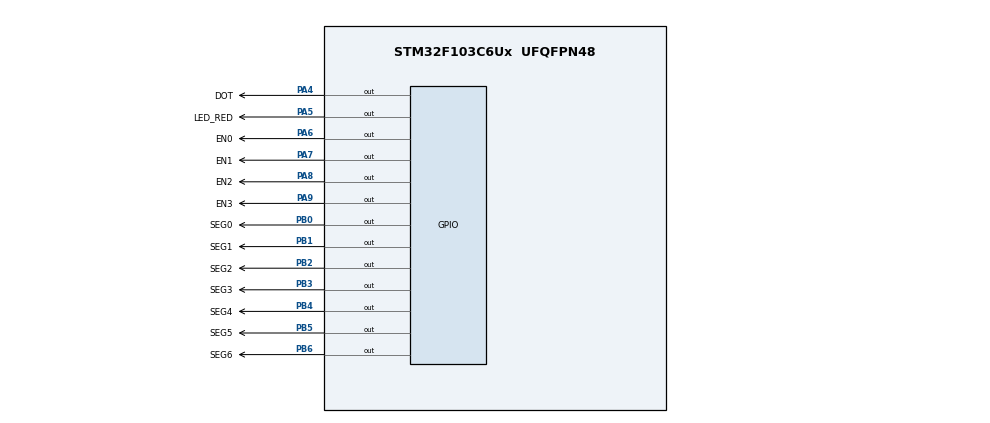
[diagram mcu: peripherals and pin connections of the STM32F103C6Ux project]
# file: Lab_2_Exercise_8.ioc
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Mcu.Family=STM32F1
Mcu.Name=STM32F103C6Ux
Mcu.Package=UFQFPN48
NVIC.PriorityGroup=NVIC_PRIORITYGROUP_4
NVIC.TIM2_IRQn=true\:0\:0\:false\:false\:true\:true\:true
PA4.GPIO_Label=DOT
PA4.Signal=GPIO_Output
PA5.GPIO_Label=LED_RED
PA5.Signal=GPIO_Output
PA6.GPIO_Label=EN0
PA6.Signal=GPIO_Output
PA7.GPIO_Label=EN1
PA7.Signal=GPIO_Output
PA8.GPIO_Label=EN2
PA8.Signal=GPIO_Output
PA9.GPIO_Label=EN3
PA9.Signal=GPIO_Output
PB0.GPIO_Label=SEG0
PB0.Signal=GPIO_Output
PB1.GPIO_Label=SEG1
PB1.Signal=GPIO_Output
PB2.GPIO_Label=SEG2
PB2.Signal=GPIO_Output
PB3.GPIO_Label=SEG3
PB3.Signal=GPIO_Output
PB4.GPIO_Label=SEG4
PB4.Signal=GPIO_Output
PB5.GPIO_Label=SEG5
PB5.Signal=GPIO_Output
PB6.GPIO_Label=SEG6
PB6.Signal=GPIO_Output
ProjectManager.HeapSize=0x200
ProjectManager.StackSize=0x400
ProjectManager.TargetToolchain=STM32CubeIDE
RCC.APB1Freq_Value=8000000
RCC.APB2Freq_Value=8000000
TIM2.Prescaler=7999
VP_SYS_VS_ND.Mode=No_Debug
VP_TIM2_VS_ClockSourceINT.Mode=Internal
board=custom

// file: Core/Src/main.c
/* USER CODE BEGIN Header */
/**
  ******************************************************************************
  * @file           : main.c
  * @brief          : Main program body
  ******************************************************************************
  * @attention
  *
  * <h2><center>&copy; Copyright (c) 2022 STMicroelectronics.
  * All rights reserved.</center></h2>
  *
  * This software component is licensed by ST under BSD 3-Clause license,
  * the "License"; You may not use this file except in compliance with the
  * License. You may obtain a copy of the License at:
  *                        opensource.org/licenses/BSD-3-Clause
  *
  ******************************************************************************
  */
/* USER CODE END Header */
#include "main.h"

TIM_HandleTypeDef htim2;

/* USER CODE BEGIN PV */
int hour = 15, minute = 8, second = 50;
const int MAX_LED = 4;
int index_led = 0;
int led_buffer[4] = {0, 0, 0, 0};
int timer0_counter = 0;
int timer0_flag = 0;
int timer1_counter = 0;
int timer1_flag = 0;
int TIMER_CYCLE = 10;
/* USER CODE END PV */

void SystemClock_Config(void);
static void MX_GPIO_Init(void);
static void MX_TIM2_Init(void);
/* USER CODE BEGIN PFP */
void update7SEG(int);
void updateClockBuffer(void);
void display7SEG(int);
void setTimer0(int);
void setTimer1(int);
void timer_run(void);
/* USER CODE END PFP */

int main(void)
{

  /* MCU Configuration--------------------------------------------------------*/

  /* Reset of all peripherals, Initializes the Flash interface and the Systick. */
  HAL_Init();

  /* Configure the system clock */
  SystemClock_Config();

  /* Initialize all configured peripherals */
  MX_GPIO_Init();
  MX_TIM2_Init();
  /* USER CODE BEGIN 2 */
  HAL_TIM_Base_Start_IT(&htim2);
  /* USER CODE END 2 */

  /* Infinite loop */
  /* USER CODE BEGIN WHILE */
  setTimer0(100);
  setTimer1(100);
  while (1)
  {
    /* USER CODE END WHILE */
	  if (timer0_flag) {
		  timer0_flag = 0;
		  setTimer0(1000);
		  HAL_GPIO_TogglePin(DOT_GPIO_Port, DOT_Pin);
		  HAL_GPIO_TogglePin(LED_RED_GPIO_Port, LED_RED_Pin);

		  second++;
		  if ( second >= 60) {
			  second = 0;
			  minute++;
		  }
		  if( minute >= 60) {
			  minute = 0;
			  hour++;
		  }
		  if( hour >= 24) {
			  hour = 0;
		  }
		  updateClockBuffer();
	  }

	  if (timer1_flag) {
		  timer1_flag = 0;
		  setTimer1(250);
		  update7SEG(index_led++);
		  if(index_led == MAX_LED) index_led = 0;
	  }
  }
}

void SystemClock_Config(void)
{
  RCC_OscInitTypeDef RCC_OscInitStruct = {0};
  RCC_ClkInitTypeDef RCC_ClkInitStruct = {0};

  /** Initializes the RCC Oscillators according to the specified parameters
  * in the RCC_OscInitTypeDef structure.
  */
  RCC_OscInitStruct.OscillatorType = RCC_OSCILLATORTYPE_HSI;
  RCC_OscInitStruct.HSIState = RCC_HSI_ON;
  RCC_OscInitStruct.HSICalibrationValue = RCC_HSICALIBRATION_DEFAULT;
  RCC_OscInitStruct.PLL.PLLState = RCC_PLL_NONE;
  if (HAL_RCC_OscConfig(&RCC_OscInitStruct) != HAL_OK)
  {
    Error_Handler();
  }
  /** Initializes the CPU, AHB and APB buses clocks
  */
  RCC_ClkInitStruct.ClockType = RCC_CLOCKTYPE_HCLK|RCC_CLOCKTYPE_SYSCLK
                              |RCC_CLOCKTYPE_PCLK1|RCC_CLOCKTYPE_PCLK2;
  RCC_ClkInitStruct.SYSCLKSource = RCC_SYSCLKSOURCE_HSI;
  RCC_ClkInitStruct.AHBCLKDivider = RCC_SYSCLK_DIV1;
  RCC_ClkInitStruct.APB1CLKDivider = RCC_HCLK_DIV1;
  RCC_ClkInitStruct.APB2CLKDivider = RCC_HCLK_DIV1;

  if (HAL_RCC_ClockConfig(&RCC_ClkInitStruct, FLASH_LATENCY_0) != HAL_OK)
  {
    Error_Handler();
  }
}

static void MX_TIM2_Init(void)
{

  TIM_ClockConfigTypeDef sClockSourceConfig = {0};
  TIM_MasterConfigTypeDef sMasterConfig = {0};

  htim2.Instance = TIM2;
  htim2.Init.Prescaler = 7999;
  htim2.Init.CounterMode = TIM_COUNTERMODE_UP;
  htim2.Init.Period = 1;
  htim2.Init.ClockDivision = TIM_CLOCKDIVISION_DIV1;
  htim2.Init.AutoReloadPreload = TIM_AUTORELOAD_PRELOAD_DISABLE;
  if (HAL_TIM_Base_Init(&htim2) != HAL_OK)
  {
    Error_Handler();
  }
  sClockSourceConfig.ClockSource = TIM_CLOCKSOURCE_INTERNAL;
  if (HAL_TIM_ConfigClockSource(&htim2, &sClockSourceConfig) != HAL_OK)
  {
    Error_Handler();
  }
  sMasterConfig.MasterOutputTrigger = TIM_TRGO_RESET;
  sMasterConfig.MasterSlaveMode = TIM_MASTERSLAVEMODE_DISABLE;
  if (HAL_TIMEx_MasterConfigSynchronization(&htim2, &sMasterConfig) != HAL_OK)
  {
    Error_Handler();
  }

}

static void MX_GPIO_Init(void)
{
  GPIO_InitTypeDef GPIO_InitStruct = {0};

  /* GPIO Ports Clock Enable */
  __HAL_RCC_GPIOA_CLK_ENABLE();
  __HAL_RCC_GPIOB_CLK_ENABLE();

  /*Configure GPIO pin Output Level */
  HAL_GPIO_WritePin(GPIOA, DOT_Pin|LED_RED_Pin|EN0_Pin|EN1_Pin
                          |EN2_Pin|EN3_Pin, GPIO_PIN_RESET);

  /*Configure GPIO pin Output Level */
  HAL_GPIO_WritePin(GPIOB, SEG0_Pin|SEG1_Pin|SEG2_Pin|SEG3_Pin
                          |SEG4_Pin|SEG5_Pin|SEG6_Pin, GPIO_PIN_RESET);

  /*Configure GPIO pins : DOT_Pin LED_RED_Pin EN0_Pin EN1_Pin
                           EN2_Pin EN3_Pin */
  GPIO_InitStruct.Pin = DOT_Pin|LED_RED_Pin|EN0_Pin|EN1_Pin
                          |EN2_Pin|EN3_Pin;
  GPIO_InitStruct.Mode = GPIO_MODE_OUTPUT_PP;
  GPIO_InitStruct.Pull = GPIO_NOPULL;
  GPIO_InitStruct.Speed = GPIO_SPEED_FREQ_LOW;
  HAL_GPIO_Init(GPIOA, &GPIO_InitStruct);

  /*Configure GPIO pins : SEG0_Pin SEG1_Pin SEG2_Pin SEG3_Pin
                           SEG4_Pin SEG5_Pin SEG6_Pin */
  GPIO_InitStruct.Pin = SEG0_Pin|SEG1_Pin|SEG2_Pin|SEG3_Pin
                          |SEG4_Pin|SEG5_Pin|SEG6_Pin;
  GPIO_InitStruct.Mode = GPIO_MODE_OUTPUT_PP;
  GPIO_InitStruct.Pull = GPIO_NOPULL;
  GPIO_InitStruct.Speed = GPIO_SPEED_FREQ_LOW;
  HAL_GPIO_Init(GPIOB, &GPIO_InitStruct);

}

/* USER CODE BEGIN 4 */
void display7SEG(int num){
	HAL_GPIO_WritePin(SEG0_GPIO_Port, SEG0_Pin, 1);
	HAL_GPIO_WritePin(SEG1_GPIO_Port, SEG1_Pin, 1);
	HAL_GPIO_WritePin(SEG2_GPIO_Port, SEG2_Pin, 1);
	HAL_GPIO_WritePin(SEG3_GPIO_Port, SEG3_Pin, 1);
	HAL_GPIO_WritePin(SEG4_GPIO_Port, SEG4_Pin, 1);
	HAL_GPIO_WritePin(SEG5_GPIO_Port, SEG5_Pin, 1);
	HAL_GPIO_WritePin(SEG6_GPIO_Port, SEG6_Pin, 1);
	switch(num)
		{
		case 0:
			HAL_GPIO_WritePin(SEG0_GPIO_Port, SEG0_Pin, 0);
			HAL_GPIO_WritePin(SEG1_GPIO_Port, SEG1_Pin, 0);
			HAL_GPIO_WritePin(SEG2_GPIO_Port, SEG2_Pin, 0);
			HAL_GPIO_WritePin(SEG3_GPIO_Port, SEG3_Pin, 0);
			HAL_GPIO_WritePin(SEG4_GPIO_Port, SEG4_Pin, 0);
			HAL_GPIO_WritePin(SEG5_GPIO_Port, SEG5_Pin, 0);
			HAL_GPIO_WritePin(SEG6_GPIO_Port, SEG6_Pin, 1);
			break;
		case 1:
			HAL_GPIO_WritePin(SEG0_GPIO_Port, SEG0_Pin, 1);
			HAL_GPIO_WritePin(SEG1_GPIO_Port, SEG1_Pin, 0);
			HAL_GPIO_WritePin(SEG2_GPIO_Port, SEG2_Pin, 0);
			HAL_GPIO_WritePin(SEG3_GPIO_Port, SEG3_Pin, 1);
			HAL_GPIO_WritePin(SEG4_GPIO_Port, SEG4_Pin, 1);
			HAL_GPIO_WritePin(SEG5_GPIO_Port, SEG5_Pin, 1);
			HAL_GPIO_WritePin(SEG6_GPIO_Port, SEG6_Pin, 1);
			break;
		case 2:
			HAL_GPIO_WritePin(SEG0_GPIO_Port, SEG0_Pin, 0);
			HAL_GPIO_WritePin(SEG1_GPIO_Port, SEG1_Pin, 0);
			HAL_GPIO_WritePin(SEG2_GPIO_Port, SEG2_Pin, 1);
			HAL_GPIO_WritePin(SEG3_GPIO_Port, SEG3_Pin, 0);
			HAL_GPIO_WritePin(SEG4_GPIO_Port, SEG4_Pin, 0);
			HAL_GPIO_WritePin(SEG5_GPIO_Port, SEG5_Pin, 1);
			HAL_GPIO_WritePin(SEG6_GPIO_Port, SEG6_Pin, 0);
			break;
		case 3:
			HAL_GPIO_WritePin(SEG0_GPIO_Port, SEG0_Pin, 0);
			HAL_GPIO_WritePin(SEG1_GPIO_Port, SEG1_Pin, 0);
			HAL_GPIO_WritePin(SEG2_GPIO_Port, SEG2_Pin, 0);
			HAL_GPIO_WritePin(SEG3_GPIO_Port, SEG3_Pin, 0);
			HAL_GPIO_WritePin(SEG4_GPIO_Port, SEG4_Pin, 1);
			HAL_GPIO_WritePin(SEG5_GPIO_Port, SEG5_Pin, 1);
			HAL_GPIO_WritePin(SEG6_GPIO_Port, SEG6_Pin, 0);
			break;
		case 4:
			HAL_GPIO_WritePin(SEG0_GPIO_Port, SEG0_Pin, 1);
			HAL_GPIO_WritePin(SEG1_GPIO_Port, SEG1_Pin, 0);
			HAL_GPIO_WritePin(SEG2_GPIO_Port, SEG2_Pin, 0);
			HAL_GPIO_WritePin(SEG3_GPIO_Port, SEG3_Pin, 1);
			HAL_GPIO_WritePin(SEG4_GPIO_Port, SEG4_Pin, 1);
			HAL_GPIO_WritePin(SEG5_GPIO_Port, SEG5_Pin, 0);
			HAL_GPIO_WritePin(SEG6_GPIO_Port, SEG6_Pin, 0);
			break;
		case 5:
			HAL_GPIO_WritePin(SEG0_GPIO_Port, SEG0_Pin, 0);
			HAL_GPIO_WritePin(SEG1_GPIO_Port, SEG1_Pin, 1);
			HAL_GPIO_WritePin(SEG2_GPIO_Port, SEG2_Pin, 0);
			HAL_GPIO_WritePin(SEG3_GPIO_Port, SEG3_Pin, 0);
			HAL_GPIO_WritePin(SEG4_GPIO_Port, SEG4_Pin, 1);
			HAL_GPIO_WritePin(SEG5_GPIO_Port, SEG5_Pin, 0);
			HAL_GPIO_WritePin(SEG6_GPIO_Port, SEG6_Pin, 0);
			break;
		case 6:
			HAL_GPIO_WritePin(SEG0_GPIO_Port, SEG0_Pin, 0);
			HAL_GPIO_WritePin(SEG1_GPIO_Port, SEG1_Pin, 1);
			HAL_GPIO_WritePin(SEG2_GPIO_Port, SEG2_Pin, 0);
			HAL_GPIO_WritePin(SEG3_GPIO_Port, SEG3_Pin, 0);
			HAL_GPIO_WritePin(SEG4_GPIO_Port, SEG4_Pin, 0);
			HAL_GPIO_WritePin(SEG5_GPIO_Port, SEG5_Pin, 0);
			HAL_GPIO_WritePin(SEG6_GPIO_Port, SEG6_Pin, 0);
			break;
		case 7:
			HAL_GPIO_WritePin(SEG0_GPIO_Port, SEG0_Pin, 0);
			HAL_GPIO_WritePin(SEG1_GPIO_Port, SEG1_Pin, 0);
			HAL_GPIO_WritePin(SEG2_GPIO_Port, SEG2_Pin, 0);
			HAL_GPIO_WritePin(SEG3_GPIO_Port, SEG3_Pin, 1);
			HAL_GPIO_WritePin(SEG4_GPIO_Port, SEG4_Pin, 1);
			HAL_GPIO_WritePin(SEG5_GPIO_Port, SEG5_Pin, 1);
			HAL_GPIO_WritePin(SEG6_GPIO_Port, SEG6_Pin, 1);
			break;
		case 8:
			HAL_GPIO_WritePin(SEG0_GPIO_Port, SEG0_Pin, 0);
			HAL_GPIO_WritePin(SEG1_GPIO_Port, SEG1_Pin, 0);
			HAL_GPIO_WritePin(SEG2_GPIO_Port, SEG2_Pin, 0);
			HAL_GPIO_WritePin(SEG3_GPIO_Port, SEG3_Pin, 0);
			HAL_GPIO_WritePin(SEG4_GPIO_Port, SEG4_Pin, 0);
			HAL_GPIO_WritePin(SEG5_GPIO_Port, SEG5_Pin, 0);
			HAL_GPIO_WritePin(SEG6_GPIO_Port, SEG6_Pin, 0);
			break;
		case 9:
			HAL_GPIO_WritePin(SEG0_GPIO_Port, SEG0_Pin, 0);
			HAL_GPIO_WritePin(SEG1_GPIO_Port, SEG1_Pin, 0);
			HAL_GPIO_WritePin(SEG2_GPIO_Port, SEG2_Pin, 0);
			HAL_GPIO_WritePin(SEG3_GPIO_Port, SEG3_Pin, 1);
			HAL_GPIO_WritePin(SEG4_GPIO_Port, SEG4_Pin, 1);
			HAL_GPIO_WritePin(SEG5_GPIO_Port, SEG5_Pin, 0);
			HAL_GPIO_WritePin(SEG6_GPIO_Port, SEG6_Pin, 0);
			break;
		}
}

void update7SEG ( int index ) {
	HAL_GPIO_WritePin(EN0_GPIO_Port, EN0_Pin, 1);
	HAL_GPIO_WritePin(EN1_GPIO_Port, EN1_Pin, 1);
	HAL_GPIO_WritePin(EN2_GPIO_Port, EN2_Pin, 1);
	HAL_GPIO_WritePin(EN3_GPIO_Port, EN3_Pin, 1);
	display7SEG(led_buffer[index]);
	switch ( index ) {
	case 0:
		// Display the first 7 SEG with led_buffer [0]
		HAL_GPIO_WritePin(EN0_GPIO_Port, EN0_Pin, 0);
		break ;
	case 1:
		// Display the second 7 SEG with led_buffer [1]
		HAL_GPIO_WritePin(EN1_GPIO_Port, EN1_Pin, 0);
		break ;
	case 2:
		// Display the third 7 SEG with led_buffer [2]
		HAL_GPIO_WritePin(EN2_GPIO_Port, EN2_Pin, 0);
		break ;
	case 3:
		// Display the forth 7 SEG with led_buffer [3]
		HAL_GPIO_WritePin(EN3_GPIO_Port, EN3_Pin, 0);
		break ;
	default :
		break ;
	}
}

void updateClockBuffer() {
	led_buffer[0] = hour / 10;
	led_buffer[1] = hour % 10;
	led_buffer[2] = minute / 10;
	led_buffer[3] = minute % 10;
}

void setTimer0(int duration) {
	timer0_counter = duration / TIMER_CYCLE;
	timer0_flag = 0;
}

void setTimer1(int duration) {
	timer1_counter = duration / TIMER_CYCLE;
	timer1_flag = 0;
}

void timer_run() {
	if (timer0_counter > 0) {
		timer0_counter--;
		if (timer0_counter == 0) timer0_flag = 1;
	}

	if (timer1_counter > 0) {
		timer1_counter--;
		if (timer1_counter == 0) timer1_flag = 1;
	}
}

void HAL_TIM_PeriodElapsedCallback(TIM_HandleTypeDef *htim) {
	timer_run();
}

/* USER CODE END 4 */

void Error_Handler(void)
{
  __disable_irq();
  while (1)
  {
  }
}

/************************ (C) COPYRIGHT STMicroelectronics *****END OF FILE****/
